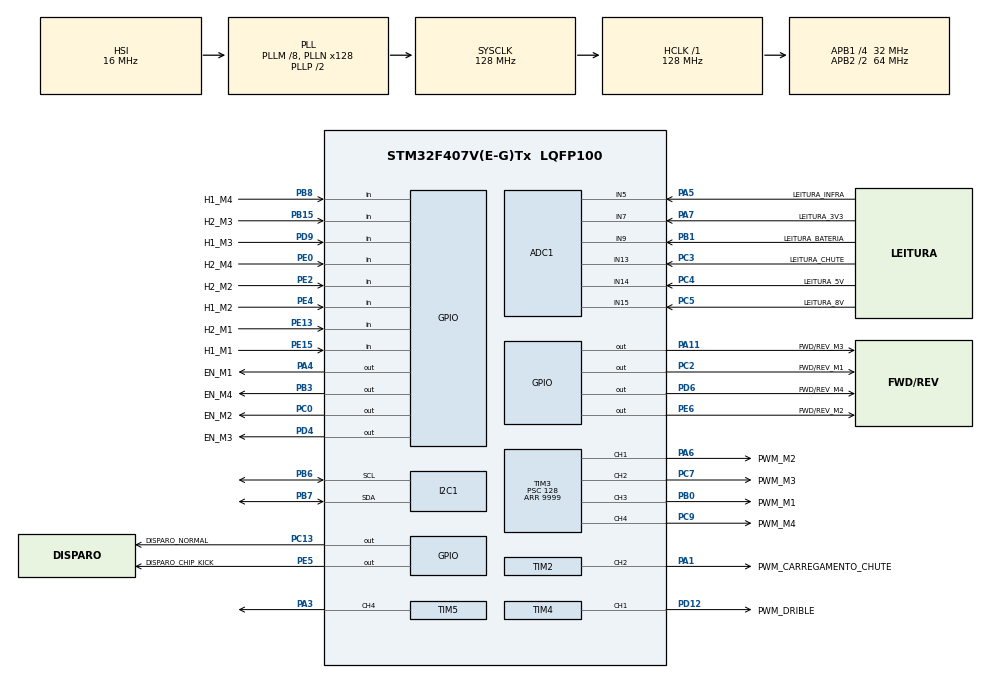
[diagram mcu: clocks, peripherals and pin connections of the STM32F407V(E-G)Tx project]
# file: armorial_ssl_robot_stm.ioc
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ADC1.Channel-3\#ChannelRegularConversion=ADC_CHANNEL_7
ADC1.Channel-4\#ChannelRegularConversion=ADC_CHANNEL_9
ADC1.Channel-5\#ChannelRegularConversion=ADC_CHANNEL_14
ADC1.Channel-6\#ChannelRegularConversion=ADC_CHANNEL_15
ADC1.Channel-7\#ChannelRegularConversion=ADC_CHANNEL_5
ADC1.Channel-8\#ChannelRegularConversion=ADC_CHANNEL_13
ADC1.DMAContinuousRequests=ENABLE
ADC1.NbrOfConversion=6
ADC1.NbrOfConversionFlag=1
ADC1.Rank-3\#ChannelRegularConversion=1
ADC1.Rank-4\#ChannelRegularConversion=2
ADC1.Rank-5\#ChannelRegularConversion=3
ADC1.Rank-6\#ChannelRegularConversion=4
ADC1.Rank-7\#ChannelRegularConversion=5
ADC1.Rank-8\#ChannelRegularConversion=6
ADC1.SamplingTime-3\#ChannelRegularConversion=ADC_SAMPLETIME_3CYCLES
ADC1.SamplingTime-4\#ChannelRegularConversion=ADC_SAMPLETIME_3CYCLES
ADC1.SamplingTime-5\#ChannelRegularConversion=ADC_SAMPLETIME_3CYCLES
ADC1.SamplingTime-6\#ChannelRegularConversion=ADC_SAMPLETIME_3CYCLES
ADC1.SamplingTime-7\#ChannelRegularConversion=ADC_SAMPLETIME_3CYCLES
ADC1.SamplingTime-8\#ChannelRegularConversion=ADC_SAMPLETIME_3CYCLES
ADC1.master=1
Dma.ADC1.0.Direction=DMA_PERIPH_TO_MEMORY
Dma.ADC1.0.FIFOMode=DMA_FIFOMODE_DISABLE
Dma.ADC1.0.Instance=DMA2_Stream0
Dma.ADC1.0.MemDataAlignment=DMA_MDATAALIGN_HALFWORD
Dma.ADC1.0.MemInc=DMA_MINC_ENABLE
Dma.ADC1.0.Mode=DMA_CIRCULAR
Dma.ADC1.0.PeriphDataAlignment=DMA_PDATAALIGN_HALFWORD
Dma.ADC1.0.PeriphInc=DMA_PINC_DISABLE
Dma.ADC1.0.Priority=DMA_PRIORITY_LOW
Dma.Request0=ADC1
I2C1.DualAddressMode=I2C_DUALADDRESS_DISABLE
I2C1.GeneralCallMode=I2C_GENERALCALL_DISABLE
I2C1.I2C_Mode=I2C_Fast
I2C1.NoStretchMode=I2C_NOSTRETCH_DISABLE
I2C1.OwnAddress=0x1F
Mcu.Family=STM32F4
Mcu.Name=STM32F407V(E-G)Tx
Mcu.Package=LQFP100
NVIC.DMA2_Stream0_IRQn=true\:0\:0\:false\:false\:true\:false\:true\:true
NVIC.I2C1_EV_IRQn=true\:0\:0\:false\:false\:true\:true\:true\:true
NVIC.PriorityGroup=NVIC_PRIORITYGROUP_4
PA1.GPIO_Label=PWM_CARREGAMENTO_CHUTE
PA1.Signal=S_TIM2_CH2
PA11.GPIO_Label=FWD/REV_M3
PA11.Signal=GPIO_Output
PA3.Signal=S_TIM5_CH4
PA4.GPIO_Label=EN_M1
PA4.Signal=GPIO_Output
PA5.GPIO_Label=LEITURA_INFRA
PA5.Signal=ADCx_IN5
PA6.GPIO_Label=PWM_M2
PA6.Signal=S_TIM3_CH1
PA7.GPIO_Label=LEITURA_3V3
PA7.Signal=ADCx_IN7
PB0.GPIO_Label=PWM_M1
PB0.Signal=S_TIM3_CH3
PB1.GPIO_Label=LEITURA_BATERIA
PB1.Signal=ADCx_IN9
PB15.GPIO_Label=H2_M3
PB15.GPIO_PuPd=GPIO_PULLUP
PB15.Signal=GPIO_Input
PB3.GPIO_Label=EN_M4
PB3.Signal=GPIO_Output
PB6.GPIO_Pu=GPIO_PULLUP
PB6.Mode=I2C
PB6.Signal=I2C1_SCL
PB7.GPIO_Pu=GPIO_PULLUP
PB7.Mode=I2C
PB7.Signal=I2C1_SDA
PB8.GPIO_Label=H1_M4
PB8.GPIO_PuPd=GPIO_PULLUP
PB8.Signal=GPIO_Input
PC0.GPIO_Label=EN_M2
PC0.Signal=GPIO_Output
PC13-ANTI_TAMP.GPIO_Label=DISPARO_NORMAL
PC13-ANTI_TAMP.Signal=GPIO_Output
PC2.GPIO_Label=FWD/REV_M1
PC2.Signal=GPIO_Output
PC3.GPIO_Label=LEITURA_CHUTE
PC3.Signal=ADCx_IN13
PC4.GPIO_Label=LEITURA_5V
PC4.Signal=ADCx_IN14
PC5.GPIO_Label=LEITURA_8V
PC5.Signal=ADCx_IN15
PC7.GPIO_Label=PWM_M3
PC7.Signal=S_TIM3_CH2
PC9.GPIO_Label=PWM_M4
PC9.Signal=S_TIM3_CH4
PD12.GPIO_Label=PWM_DRIBLE
PD12.Signal=S_TIM4_CH1
PD4.GPIO_Label=EN_M3
PD4.Signal=GPIO_Output
PD6.GPIO_Label=FWD/REV_M4
PD6.Signal=GPIO_Output
PD9.GPIO_Label=H1_M3
PD9.GPIO_PuPd=GPIO_PULLUP
PD9.Signal=GPIO_Input
PE0.GPIO_Label=H2_M4
PE0.GPIO_PuPd=GPIO_PULLUP
PE0.Signal=GPIO_Input
PE13.GPIO_Label=H2_M1
PE13.GPIO_PuPd=GPIO_PULLUP
PE13.Signal=GPIO_Input
PE15.GPIO_Label=H1_M1
PE15.GPIO_PuPd=GPIO_PULLUP
PE15.Signal=GPIO_Input
PE2.GPIO_Label=H2_M2
PE2.GPIO_PuPd=GPIO_PULLUP
PE2.Signal=GPIO_Input
PE4.GPIO_Label=H1_M2
PE4.GPIO_PuPd=GPIO_PULLUP
PE4.Signal=GPIO_Input
PE5.GPIO_Label=DISPARO_CHIP_KICK
PE5.Signal=GPIO_Output
PE6.GPIO_Label=FWD/REV_M2
PE6.Signal=GPIO_Output
PH0-OSC_IN.Mode=HSE-External-Oscillator
PH0-OSC_IN.Signal=RCC_OSC_IN
PH1-OSC_OUT.Mode=HSE-External-Oscillator
PH1-OSC_OUT.Signal=RCC_OSC_OUT
ProjectManager.HeapSize=0x200
ProjectManager.StackSize=0x400
ProjectManager.TargetToolchain=STM32CubeIDE
RCC.48MHZClocksFreq_Value=64000000
RCC.AHBFreq_Value=128000000
RCC.APB1CLKDivider=RCC_HCLK_DIV4
RCC.APB1Freq_Value=32000000
RCC.APB1TimFreq_Value=64000000
RCC.APB2CLKDivider=RCC_HCLK_DIV2
RCC.APB2Freq_Value=64000000
RCC.APB2TimFreq_Value=128000000
RCC.CortexFreq_Value=128000000
RCC.HCLKFreq_Value=128000000
RCC.HSE_VALUE=25000000
RCC.HSI_VALUE=16000000
RCC.LSE_VALUE=32768
RCC.PLLM=8
RCC.PLLN=128
RCC.SYSCLKFreq_VALUE=128000000
RCC.SYSCLKSource=RCC_SYSCLKSOURCE_PLLCLK
RCC.VCOOutputFreq_Value=256000000
SH.ADCx_IN13.0=ADC1_IN13,IN13
SH.ADCx_IN14.0=ADC1_IN14,IN14
SH.ADCx_IN15.0=ADC1_IN15,IN15
SH.ADCx_IN5.0=ADC1_IN5,IN5
SH.ADCx_IN7.0=ADC1_IN7,IN7
SH.ADCx_IN9.0=ADC1_IN9,IN9
SH.S_TIM2_CH2.0=TIM2_CH2,PWM Generation2 CH2
SH.S_TIM3_CH1.0=TIM3_CH1,PWM Generation1 CH1
SH.S_TIM3_CH2.0=TIM3_CH2,PWM Generation2 CH2
SH.S_TIM3_CH3.0=TIM3_CH3,PWM Generation3 CH3
SH.S_TIM3_CH4.0=TIM3_CH4,PWM Generation4 CH4
SH.S_TIM4_CH1.0=TIM4_CH1,PWM Generation1 CH1
SH.S_TIM5_CH4.0=TIM5_CH4,PWM Generation4 CH4
TIM2.Channel-PWM\ Generation2\ CH2=TIM_CHANNEL_2
TIM2.Period=1999
TIM2.Prescaler=128
TIM3.Channel-PWM\ Generation1\ CH1=TIM_CHANNEL_1
TIM3.Channel-PWM\ Generation2\ CH2=TIM_CHANNEL_2
TIM3.Channel-PWM\ Generation3\ CH3=TIM_CHANNEL_3
TIM3.Channel-PWM\ Generation4\ CH4=TIM_CHANNEL_4
TIM3.Period=9999
TIM3.Prescaler=128
TIM4.Channel-PWM\ Generation1\ CH1=TIM_CHANNEL_1
TIM4.Period=19999
TIM4.Prescaler=64
TIM5.Channel-PWM\ Generation4\ CH4=TIM_CHANNEL_4
TIM5.Period=99
TIM5.Prescaler=128
TIM9.Period=199
TIM9.Prescaler=64
VP_TIM2_VS_ClockSourceINT.Mode=Internal
VP_TIM3_VS_ClockSourceINT.Mode=Internal
VP_TIM4_VS_ClockSourceINT.Mode=Internal
VP_TIM5_VS_ClockSourceINT.Mode=Internal
VP_TIM9_VS_ClockSourceINT.Mode=Internal
board=custom

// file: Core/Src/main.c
/* USER CODE BEGIN Header */
/**
  ******************************************************************************
  * @file           : main.c
  * @brief          : Main program body
  ******************************************************************************
  * @attention
  *
  * Copyright (c) 2023 STMicroelectronics.
  * All rights reserved.
  *
  * This software is licensed under terms that can be found in the LICENSE file
  * in the root directory of this software component.
  * If no LICENSE file comes with this software, it is provided AS-IS.
  *
  ******************************************************************************
  */
/* USER CODE END Header */
#include "main.h"

/* USER CODE BEGIN Includes */
#include "crc.h"
#include "packets.h"
#include "drible.h"
#include "locomotions.h"
#include <string.h>
#include <stdlib.h>
#include <math.h>
/* USER CODE END Includes */

/* USER CODE BEGIN PTD */
__IO uint32_t     Transfer_Direction = 0;
__IO uint32_t     Xfer_Complete = 0;

/* USER CODE END PTD */

/* USER CODE BEGIN PD */
/* USER CODE BEGIN PD */
uint8_t getMasterInput = 0;
uint8_t getTransferDirection = 0;
uint8_t rxBuffer[1024];
uint8_t txBuffer[1024];
FeedbackPacket robotFeedback;
uint8_t robotId = 0;
uint32_t adc1[6];
GPIO_PinState IR_read;
/* USER CODE END PD */

/* USER CODE BEGIN PM */
#define MOTOR_1_PWM TIM3->CCR3
#define MOTOR_2_PWM TIM3->CCR1
#define MOTOR_3_PWM TIM3->CCR2
#define MOTOR_4_PWM TIM3->CCR4

#define PWM_CARREG_CHUTE TIM2->CCR2
#define CHARGE_TIME 4000

#define PWM_DRIBLE TIM4->CCR1

#define PWM_BUZZER TIM5->CCR4

#define LEITURA_3V3 0
#define LEITURA_BATERIA 1
#define LEITURA_5V 2
#define LEITURA_8V 3
#define LEITURA_INFRA 4
#define LEITURA_CHUTE 5

#define SSL_WHEELS_DISTANCE_TO_CENTER 0.07245f
#define SSL_WHEEL_RADIUS 0.03f

/* USER CODE END PM */

ADC_HandleTypeDef hadc1;
DMA_HandleTypeDef hdma_adc1;

I2C_HandleTypeDef hi2c1;

TIM_HandleTypeDef htim2;
TIM_HandleTypeDef htim3;
TIM_HandleTypeDef htim4;
TIM_HandleTypeDef htim5;
TIM_HandleTypeDef htim9;

void SystemClock_Config(void);
static void MX_GPIO_Init(void);
static void MX_DMA_Init(void);
static void MX_I2C1_Init(void);
static void MX_TIM3_Init(void);
static void MX_ADC1_Init(void);
static void MX_TIM2_Init(void);
static void MX_TIM4_Init(void);
static void MX_TIM9_Init(void);
static void MX_TIM5_Init(void);

/* USER CODE BEGIN 0 */

//--- Map ---
//long map(long x, long in_min, long in_max, long out_min, long out_max)
//{
//  return (x - in_min) * (out_max - out_min) / (in_max - in_min) + out_min;
//}

typedef enum {charged = 0, charging=1, kicking=2} kick_state;
kick_state kickState = kicking;
long long timer_kick = 0;
long long timer_readings = 0;
long long timer_led = 0;
long long timer_hall = 0;
float kickCmd = 0;
int high = 0; //used for blink
int loop_counter;

void turn_kick_charge_on() {PWM_CARREG_CHUTE = 140;}
void turn_kick_charge_off() {PWM_CARREG_CHUTE = 0;}
void turn_kick_on() {
	HAL_GPIO_WritePin(GPIOE, GPIO_PIN_5, 1);
	HAL_GPIO_WritePin(GPIOC, GPIO_PIN_13, 1);}
void turn_kick_off() {
	HAL_GPIO_WritePin(GPIOE, GPIO_PIN_5, 0);
	HAL_GPIO_WritePin(GPIOC, GPIO_PIN_13, 0);}

void verify_kick_charge() {
	if (kickState == charging) {
		if (HAL_GetTick() - timer_kick >= CHARGE_TIME) {
			kickState = charged;
			turn_kick_charge_off();
		}
	}
}
void verify_kick_activation() {
	if (kickState == kicking) {
		if (HAL_GetTick() - timer_kick >= 20) {
			turn_kick_off();
			turn_kick_charge_on();
			kickState = charging;
			timer_kick = HAL_GetTick();
		}
	}
}

void kick() {
	IR_read = HAL_GPIO_ReadPin(GPIOA, GPIO_PIN_5);
	if (kickState == charged && !IR_read) {
		turn_kick_on();
		kickState = kicking;
		timer_kick = HAL_GetTick();
	}
}

void try_read_ADC() {
	if (HAL_GetTick() - timer_readings >= 250) {
	  HAL_ADC_Start_DMA(&hadc1, (uint32_t*) &adc1[5], 1);
	  timer_readings = HAL_GetTick();
	}
}

//void blink() {
//	if (HAL_GetTick() - timer_led >= 1000) {
//	  HAL_GPIO_WritePin(GPIOA, LED2_Pin, high);
//	  high = (high + 1) % 2;
//	  timer_led = HAL_GetTick();
//	}
//}

/* USER CODE END 0 */

int main(void)
{

  /* MCU Configuration--------------------------------------------------------*/

  /* Reset of all peripherals, Initializes the Flash interface and the Systick. */
  HAL_Init();

  /* Configure the system clock */
  SystemClock_Config();

  /* Initialize all configured peripherals */
  MX_GPIO_Init();
  MX_DMA_Init();
  MX_I2C1_Init();
  MX_TIM3_Init();
  MX_ADC1_Init();
  MX_TIM2_Init();
  MX_TIM4_Init();
  MX_TIM9_Init();
  MX_TIM5_Init();
  /* USER CODE BEGIN 2 */

  // Starting timer 2 for channels 2 (kick charging)
  HAL_TIM_PWM_Start(&htim2, TIM_CHANNEL_2);

  // Starting timer 3 for channels 1-4 (motors)
  HAL_TIM_PWM_Start(&htim3, TIM_CHANNEL_1);
  HAL_TIM_PWM_Start(&htim3, TIM_CHANNEL_2);
  HAL_TIM_PWM_Start(&htim3, TIM_CHANNEL_3);
  HAL_TIM_PWM_Start(&htim3, TIM_CHANNEL_4);

  // Starting timer 4 channel 1 (dribble)
  HAL_TIM_PWM_Start(&htim4, TIM_CHANNEL_1);

  // Starting timer 5 channel 4 (buzzer)
  HAL_TIM_PWM_Start(&htim5, TIM_CHANNEL_4);

  // Calibrating ESC routine;
  //calibrateESC();

  if(HAL_I2C_EnableListen_IT(&hi2c1) != HAL_OK) {
	  /* Transfer error in reception process */
	  Error_Handler();
  }

  char control;
  float vx, vy, vw;

  // Starting ADC channel using DMA
//  HAL_ADC_Start_DMA(&hadc1, (uint32_t*) &adc1[5], 1);

  /* USER CODE END 2 */

  /* Infinite loop */
  /* USER CODE BEGIN WHILE */
  while (1) {
	  // Kick verification
	  verify_kick_charge();
	  verify_kick_activation();

	  //DEBUG
//	  IR_read = HAL_GPIO_ReadPin(GPIOA, GPIO_PIN_5);
//	  HAL_GPIO_WritePin(GPIOC, GPIO_PIN_4, IR_read);

	  //  ADC readings
//	  try_read_ADC();
//	  blink();
	  monitorateHall();

	  // Check I2C communication
	  if(getMasterInput) {
		  getMasterInput = 0;
		  if (getTransferDirection == 0) {
			  	float wheels[4];
			  	getWheels(wheels);
			    robotFeedback.control =control;
			  	robotFeedback.crc = 0;
			  	robotFeedback.vx = vx;
			  	robotFeedback.vy = vy;
			  	robotFeedback.vw = vw;
			  	robotFeedback.vw1_encoder = wheels[0];
				robotFeedback.vw2_encoder = wheels[1];
				robotFeedback.vw3_encoder = wheels[2];
				robotFeedback.vw4_encoder = wheels[3];
				robotFeedback.gyro_x = (float) (kickCmd);
			  	robotFeedback.timestamp = HAL_GetTick() * 1000; // microsecond
			  	robotFeedback.crc = compute_crc16cdma2000_byte(CRC_INITIAL_VALUE, (char*)&robotFeedback, sizeof(FeedbackPacket));
			  	memcpy(txBuffer, &robotFeedback, sizeof(FeedbackPacket));
				HAL_I2C_Slave_Seq_Transmit_IT(&hi2c1, (uint8_t*) txBuffer,
						sizeof(FeedbackPacket), I2C_NEXT_FRAME);
			} else {
				HAL_I2C_Slave_Seq_Receive_IT(&hi2c1, (uint8_t*) rxBuffer,
						sizeof(ControlPacket), I2C_NEXT_FRAME);

				ControlPacket controlPacket;
				memcpy(&controlPacket, rxBuffer, sizeof(ControlPacket));
				if(validatePacketCRC(controlPacket)) {

					// Enable dribbling based on control
					if(controlPacket.control & 0b01000000) {
						activateESC();
					}
					else {
						deactivateESC();
					}

					if(controlPacket.solenoidPower) {
						kick();
						kickCmd = 1000;
					} else if (!controlPacket.solenoidPower) {
						kickCmd = 0;
					}

					control = controlPacket.control;
					vx = controlPacket.vx;
					vy = controlPacket.vy;
					vw = controlPacket.vw;

					calcWheelsPWM(vx, vy, vw);
		  		}
			}
	  }
    /* USER CODE END WHILE */

  }
}

void SystemClock_Config(void)
{
  RCC_OscInitTypeDef RCC_OscInitStruct = {0};
  RCC_ClkInitTypeDef RCC_ClkInitStruct = {0};

  /** Configure the main internal regulator output voltage
  */
  __HAL_RCC_PWR_CLK_ENABLE();
  __HAL_PWR_VOLTAGESCALING_CONFIG(PWR_REGULATOR_VOLTAGE_SCALE1);

  /** Initializes the RCC Oscillators according to the specified parameters
  * in the RCC_OscInitTypeDef structure.
  */
  RCC_OscInitStruct.OscillatorType = RCC_OSCILLATORTYPE_HSI;
  RCC_OscInitStruct.HSIState = RCC_HSI_ON;
  RCC_OscInitStruct.HSICalibrationValue = RCC_HSICALIBRATION_DEFAULT;
  RCC_OscInitStruct.PLL.PLLState = RCC_PLL_ON;
  RCC_OscInitStruct.PLL.PLLSource = RCC_PLLSOURCE_HSI;
  RCC_OscInitStruct.PLL.PLLM = 8;
  RCC_OscInitStruct.PLL.PLLN = 128;
  RCC_OscInitStruct.PLL.PLLP = RCC_PLLP_DIV2;
  RCC_OscInitStruct.PLL.PLLQ = 4;
  if (HAL_RCC_OscConfig(&RCC_OscInitStruct) != HAL_OK)
  {
    Error_Handler();
  }

  /** Initializes the CPU, AHB and APB buses clocks
  */
  RCC_ClkInitStruct.ClockType = RCC_CLOCKTYPE_HCLK|RCC_CLOCKTYPE_SYSCLK
                              |RCC_CLOCKTYPE_PCLK1|RCC_CLOCKTYPE_PCLK2;
  RCC_ClkInitStruct.SYSCLKSource = RCC_SYSCLKSOURCE_PLLCLK;
  RCC_ClkInitStruct.AHBCLKDivider = RCC_SYSCLK_DIV1;
  RCC_ClkInitStruct.APB1CLKDivider = RCC_HCLK_DIV4;
  RCC_ClkInitStruct.APB2CLKDivider = RCC_HCLK_DIV2;

  if (HAL_RCC_ClockConfig(&RCC_ClkInitStruct, FLASH_LATENCY_4) != HAL_OK)
  {
    Error_Handler();
  }
}

static void MX_ADC1_Init(void)
{

  ADC_ChannelConfTypeDef sConfig = {0};

  /** Configure the global features of the ADC (Clock, Resolution, Data Alignment and number of conversion)
  */
  hadc1.Instance = ADC1;
  hadc1.Init.ClockPrescaler = ADC_CLOCK_SYNC_PCLK_DIV2;
  hadc1.Init.Resolution = ADC_RESOLUTION_12B;
  hadc1.Init.ScanConvMode = ENABLE;
  hadc1.Init.ContinuousConvMode = DISABLE;
  hadc1.Init.DiscontinuousConvMode = DISABLE;
  hadc1.Init.ExternalTrigConvEdge = ADC_EXTERNALTRIGCONVEDGE_NONE;
  hadc1.Init.ExternalTrigConv = ADC_SOFTWARE_START;
  hadc1.Init.DataAlign = ADC_DATAALIGN_RIGHT;
  hadc1.Init.NbrOfConversion = 6;
  hadc1.Init.DMAContinuousRequests = ENABLE;
  hadc1.Init.EOCSelection = ADC_EOC_SINGLE_CONV;
  if (HAL_ADC_Init(&hadc1) != HAL_OK)
  {
    Error_Handler();
  }

  /** Configure for the selected ADC regular channel its corresponding rank in the sequencer and its sample time.
  */
  sConfig.Channel = ADC_CHANNEL_7;
  sConfig.Rank = 1;
  sConfig.SamplingTime = ADC_SAMPLETIME_3CYCLES;
  if (HAL_ADC_ConfigChannel(&hadc1, &sConfig) != HAL_OK)
  {
    Error_Handler();
  }

  /** Configure for the selected ADC regular channel its corresponding rank in the sequencer and its sample time.
  */
  sConfig.Channel = ADC_CHANNEL_9;
  sConfig.Rank = 2;
  if (HAL_ADC_ConfigChannel(&hadc1, &sConfig) != HAL_OK)
  {
    Error_Handler();
  }

  /** Configure for the selected ADC regular channel its corresponding rank in the sequencer and its sample time.
  */
  sConfig.Channel = ADC_CHANNEL_14;
  sConfig.Rank = 3;
  if (HAL_ADC_ConfigChannel(&hadc1, &sConfig) != HAL_OK)
  {
    Error_Handler();
  }

  /** Configure for the selected ADC regular channel its corresponding rank in the sequencer and its sample time.
  */
  sConfig.Channel = ADC_CHANNEL_15;
  sConfig.Rank = 4;
  if (HAL_ADC_ConfigChannel(&hadc1, &sConfig) != HAL_OK)
  {
    Error_Handler();
  }

  /** Configure for the selected ADC regular channel its corresponding rank in the sequencer and its sample time.
  */
  sConfig.Channel = ADC_CHANNEL_5;
  sConfig.Rank = 5;
  if (HAL_ADC_ConfigChannel(&hadc1, &sConfig) != HAL_OK)
  {
    Error_Handler();
  }

  /** Configure for the selected ADC regular channel its corresponding rank in the sequencer and its sample time.
  */
  sConfig.Channel = ADC_CHANNEL_13;
  sConfig.Rank = 6;
  if (HAL_ADC_ConfigChannel(&hadc1, &sConfig) != HAL_OK)
  {
    Error_Handler();
  }

}

static void MX_I2C1_Init(void)
{

  hi2c1.Instance = I2C1;
  hi2c1.Init.ClockSpeed = 400000;
  hi2c1.Init.DutyCycle = I2C_DUTYCYCLE_2;
  hi2c1.Init.OwnAddress1 = 62;
  hi2c1.Init.AddressingMode = I2C_ADDRESSINGMODE_7BIT;
  hi2c1.Init.DualAddressMode = I2C_DUALADDRESS_DISABLE;
  hi2c1.Init.OwnAddress2 = 0;
  hi2c1.Init.GeneralCallMode = I2C_GENERALCALL_DISABLE;
  hi2c1.Init.NoStretchMode = I2C_NOSTRETCH_DISABLE;
  if (HAL_I2C_Init(&hi2c1) != HAL_OK)
  {
    Error_Handler();
  }

}

static void MX_TIM2_Init(void)
{

  TIM_ClockConfigTypeDef sClockSourceConfig = {0};
  TIM_MasterConfigTypeDef sMasterConfig = {0};
  TIM_OC_InitTypeDef sConfigOC = {0};

  htim2.Instance = TIM2;
  htim2.Init.Prescaler = 128;
  htim2.Init.CounterMode = TIM_COUNTERMODE_UP;
  htim2.Init.Period = 1999;
  htim2.Init.ClockDivision = TIM_CLOCKDIVISION_DIV1;
  htim2.Init.AutoReloadPreload = TIM_AUTORELOAD_PRELOAD_DISABLE;
  if (HAL_TIM_Base_Init(&htim2) != HAL_OK)
  {
    Error_Handler();
  }
  sClockSourceConfig.ClockSource = TIM_CLOCKSOURCE_INTERNAL;
  if (HAL_TIM_ConfigClockSource(&htim2, &sClockSourceConfig) != HAL_OK)
  {
    Error_Handler();
  }
  if (HAL_TIM_PWM_Init(&htim2) != HAL_OK)
  {
    Error_Handler();
  }
  sMasterConfig.MasterOutputTrigger = TIM_TRGO_RESET;
  sMasterConfig.MasterSlaveMode = TIM_MASTERSLAVEMODE_DISABLE;
  if (HAL_TIMEx_MasterConfigSynchronization(&htim2, &sMasterConfig) != HAL_OK)
  {
    Error_Handler();
  }
  sConfigOC.OCMode = TIM_OCMODE_PWM1;
  sConfigOC.Pulse = 0;
  sConfigOC.OCPolarity = TIM_OCPOLARITY_HIGH;
  sConfigOC.OCFastMode = TIM_OCFAST_DISABLE;
  if (HAL_TIM_PWM_ConfigChannel(&htim2, &sConfigOC, TIM_CHANNEL_2) != HAL_OK)
  {
    Error_Handler();
  }
  HAL_TIM_MspPostInit(&htim2);

}

static void MX_TIM3_Init(void)
{

  TIM_ClockConfigTypeDef sClockSourceConfig = {0};
  TIM_MasterConfigTypeDef sMasterConfig = {0};
  TIM_OC_InitTypeDef sConfigOC = {0};

  htim3.Instance = TIM3;
  htim3.Init.Prescaler = 128;
  htim3.Init.CounterMode = TIM_COUNTERMODE_UP;
  htim3.Init.Period = 9999;
  htim3.Init.ClockDivision = TIM_CLOCKDIVISION_DIV1;
  htim3.Init.AutoReloadPreload = TIM_AUTORELOAD_PRELOAD_DISABLE;
  if (HAL_TIM_Base_Init(&htim3) != HAL_OK)
  {
    Error_Handler();
  }
  sClockSourceConfig.ClockSource = TIM_CLOCKSOURCE_INTERNAL;
  if (HAL_TIM_ConfigClockSource(&htim3, &sClockSourceConfig) != HAL_OK)
  {
    Error_Handler();
  }
  if (HAL_TIM_PWM_Init(&htim3) != HAL_OK)
  {
    Error_Handler();
  }
  sMasterConfig.MasterOutputTrigger = TIM_TRGO_RESET;
  sMasterConfig.MasterSlaveMode = TIM_MASTERSLAVEMODE_DISABLE;
  if (HAL_TIMEx_MasterConfigSynchronization(&htim3, &sMasterConfig) != HAL_OK)
  {
    Error_Handler();
  }
  sConfigOC.OCMode = TIM_OCMODE_PWM1;
  sConfigOC.Pulse = 0;
  sConfigOC.OCPolarity = TIM_OCPOLARITY_HIGH;
  sConfigOC.OCFastMode = TIM_OCFAST_DISABLE;
  if (HAL_TIM_PWM_ConfigChannel(&htim3, &sConfigOC, TIM_CHANNEL_1) != HAL_OK)
  {
    Error_Handler();
  }
  if (HAL_TIM_PWM_ConfigChannel(&htim3, &sConfigOC, TIM_CHANNEL_2) != HAL_OK)
  {
    Error_Handler();
  }
  if (HAL_TIM_PWM_ConfigChannel(&htim3, &sConfigOC, TIM_CHANNEL_3) != HAL_OK)
  {
    Error_Handler();
  }
  if (HAL_TIM_PWM_ConfigChannel(&htim3, &sConfigOC, TIM_CHANNEL_4) != HAL_OK)
  {
    Error_Handler();
  }
  HAL_TIM_MspPostInit(&htim3);

}

static void MX_TIM4_Init(void)
{

  TIM_ClockConfigTypeDef sClockSourceConfig = {0};
  TIM_MasterConfigTypeDef sMasterConfig = {0};
  TIM_OC_InitTypeDef sConfigOC = {0};

  htim4.Instance = TIM4;
  htim4.Init.Prescaler = 64;
  htim4.Init.CounterMode = TIM_COUNTERMODE_UP;
  htim4.Init.Period = 19999;
  htim4.Init.ClockDivision = TIM_CLOCKDIVISION_DIV1;
  htim4.Init.AutoReloadPreload = TIM_AUTORELOAD_PRELOAD_DISABLE;
  if (HAL_TIM_Base_Init(&htim4) != HAL_OK)
  {
    Error_Handler();
  }
  sClockSourceConfig.ClockSource = TIM_CLOCKSOURCE_INTERNAL;
  if (HAL_TIM_ConfigClockSource(&htim4, &sClockSourceConfig) != HAL_OK)
  {
    Error_Handler();
  }
  if (HAL_TIM_PWM_Init(&htim4) != HAL_OK)
  {
    Error_Handler();
  }
  sMasterConfig.MasterOutputTrigger = TIM_TRGO_RESET;
  sMasterConfig.MasterSlaveMode = TIM_MASTERSLAVEMODE_DISABLE;
  if (HAL_TIMEx_MasterConfigSynchronization(&htim4, &sMasterConfig) != HAL_OK)
  {
    Error_Handler();
  }
  sConfigOC.OCMode = TIM_OCMODE_PWM1;
  sConfigOC.Pulse = 0;
  sConfigOC.OCPolarity = TIM_OCPOLARITY_HIGH;
  sConfigOC.OCFastMode = TIM_OCFAST_DISABLE;
  if (HAL_TIM_PWM_ConfigChannel(&htim4, &sConfigOC, TIM_CHANNEL_1) != HAL_OK)
  {
    Error_Handler();
  }
  HAL_TIM_MspPostInit(&htim4);

}

static void MX_TIM5_Init(void)
{

  TIM_ClockConfigTypeDef sClockSourceConfig = {0};
  TIM_MasterConfigTypeDef sMasterConfig = {0};
  TIM_OC_InitTypeDef sConfigOC = {0};

  htim5.Instance = TIM5;
  htim5.Init.Prescaler = 128;
  htim5.Init.CounterMode = TIM_COUNTERMODE_UP;
  htim5.Init.Period = 99;
  htim5.Init.ClockDivision = TIM_CLOCKDIVISION_DIV1;
  htim5.Init.AutoReloadPreload = TIM_AUTORELOAD_PRELOAD_DISABLE;
  if (HAL_TIM_Base_Init(&htim5) != HAL_OK)
  {
    Error_Handler();
  }
  sClockSourceConfig.ClockSource = TIM_CLOCKSOURCE_INTERNAL;
  if (HAL_TIM_ConfigClockSource(&htim5, &sClockSourceConfig) != HAL_OK)
  {
    Error_Handler();
  }
  if (HAL_TIM_PWM_Init(&htim5) != HAL_OK)
  {
    Error_Handler();
  }
  sMasterConfig.MasterOutputTrigger = TIM_TRGO_RESET;
  sMasterConfig.MasterSlaveMode = TIM_MASTERSLAVEMODE_DISABLE;
  if (HAL_TIMEx_MasterConfigSynchronization(&htim5, &sMasterConfig) != HAL_OK)
  {
    Error_Handler();
  }
  sConfigOC.OCMode = TIM_OCMODE_PWM1;
  sConfigOC.Pulse = 0;
  sConfigOC.OCPolarity = TIM_OCPOLARITY_HIGH;
  sConfigOC.OCFastMode = TIM_OCFAST_DISABLE;
  if (HAL_TIM_PWM_ConfigChannel(&htim5, &sConfigOC, TIM_CHANNEL_4) != HAL_OK)
  {
    Error_Handler();
  }
  HAL_TIM_MspPostInit(&htim5);

}

static void MX_TIM9_Init(void)
{

  TIM_ClockConfigTypeDef sClockSourceConfig = {0};

  htim9.Instance = TIM9;
  htim9.Init.Prescaler = 64;
  htim9.Init.CounterMode = TIM_COUNTERMODE_UP;
  htim9.Init.Period = 199;
  htim9.Init.ClockDivision = TIM_CLOCKDIVISION_DIV1;
  htim9.Init.AutoReloadPreload = TIM_AUTORELOAD_PRELOAD_DISABLE;
  if (HAL_TIM_Base_Init(&htim9) != HAL_OK)
  {
    Error_Handler();
  }
  sClockSourceConfig.ClockSource = TIM_CLOCKSOURCE_INTERNAL;
  if (HAL_TIM_ConfigClockSource(&htim9, &sClockSourceConfig) != HAL_OK)
  {
    Error_Handler();
  }

}

static void MX_DMA_Init(void)
{

  /* DMA controller clock enable */
  __HAL_RCC_DMA2_CLK_ENABLE();

  /* DMA interrupt init */
  /* DMA2_Stream0_IRQn interrupt configuration */
  HAL_NVIC_SetPriority(DMA2_Stream0_IRQn, 0, 0);
  HAL_NVIC_EnableIRQ(DMA2_Stream0_IRQn);

}

static void MX_GPIO_Init(void)
{
  GPIO_InitTypeDef GPIO_InitStruct = {0};

  /* GPIO Ports Clock Enable */
  __HAL_RCC_GPIOE_CLK_ENABLE();
  __HAL_RCC_GPIOC_CLK_ENABLE();
  __HAL_RCC_GPIOH_CLK_ENABLE();
  __HAL_RCC_GPIOA_CLK_ENABLE();
  __HAL_RCC_GPIOB_CLK_ENABLE();
  __HAL_RCC_GPIOD_CLK_ENABLE();

  /*Configure GPIO pin Output Level */
  HAL_GPIO_WritePin(GPIOE, DISPARO_CHIP_KICK_Pin|FWD_REV_M2_Pin, GPIO_PIN_RESET);

  /*Configure GPIO pin Output Level */
  HAL_GPIO_WritePin(GPIOC, DISPARO_NORMAL_Pin|EN_M2_Pin|FWD_REV_M1_Pin, GPIO_PIN_RESET);

  /*Configure GPIO pin Output Level */
  HAL_GPIO_WritePin(GPIOA, EN_M1_Pin|FWD_REV_M3_Pin, GPIO_PIN_RESET);

  /*Configure GPIO pin Output Level */
  HAL_GPIO_WritePin(GPIOD, EN_M3_Pin|FWD_REV_M4_Pin, GPIO_PIN_RESET);

  /*Configure GPIO pin Output Level */
  HAL_GPIO_WritePin(EN_M4_GPIO_Port, EN_M4_Pin, GPIO_PIN_RESET);

  /*Configure GPIO pins : H2_M2_Pin H1_M2_Pin H2_M1_Pin H1_M1_Pin
                           H2_M4_Pin */
  GPIO_InitStruct.Pin = H2_M2_Pin|H1_M2_Pin|H2_M1_Pin|H1_M1_Pin
                          |H2_M4_Pin;
  GPIO_InitStruct.Mode = GPIO_MODE_INPUT;
  GPIO_InitStruct.Pull = GPIO_PULLUP;
  HAL_GPIO_Init(GPIOE, &GPIO_InitStruct);

  /*Configure GPIO pins : DISPARO_CHIP_KICK_Pin FWD_REV_M2_Pin */
  GPIO_InitStruct.Pin = DISPARO_CHIP_KICK_Pin|FWD_REV_M2_Pin;
  GPIO_InitStruct.Mode = GPIO_MODE_OUTPUT_PP;
  GPIO_InitStruct.Pull = GPIO_NOPULL;
  GPIO_InitStruct.Speed = GPIO_SPEED_FREQ_LOW;
  HAL_GPIO_Init(GPIOE, &GPIO_InitStruct);

  /*Configure GPIO pins : DISPARO_NORMAL_Pin EN_M2_Pin FWD_REV_M1_Pin */
  GPIO_InitStruct.Pin = DISPARO_NORMAL_Pin|EN_M2_Pin|FWD_REV_M1_Pin;
  GPIO_InitStruct.Mode = GPIO_MODE_OUTPUT_PP;
  GPIO_InitStruct.Pull = GPIO_NOPULL;
  GPIO_InitStruct.Speed = GPIO_SPEED_FREQ_LOW;
  HAL_GPIO_Init(GPIOC, &GPIO_InitStruct);

  /*Configure GPIO pins : EN_M1_Pin FWD_REV_M3_Pin */
  GPIO_InitStruct.Pin = EN_M1_Pin|FWD_REV_M3_Pin;
  GPIO_InitStruct.Mode = GPIO_MODE_OUTPUT_PP;
  GPIO_InitStruct.Pull = GPIO_NOPULL;
  GPIO_InitStruct.Speed = GPIO_SPEED_FREQ_LOW;
  HAL_GPIO_Init(GPIOA, &GPIO_InitStruct);

  /*Configure GPIO pins : H2_M3_Pin H1_M4_Pin */
  GPIO_InitStruct.Pin = H2_M3_Pin|H1_M4_Pin;
  GPIO_InitStruct.Mode = GPIO_MODE_INPUT;
  GPIO_InitStruct.Pull = GPIO_PULLUP;
  HAL_GPIO_Init(GPIOB, &GPIO_InitStruct);

  /*Configure GPIO pin : H1_M3_Pin */
  GPIO_InitStruct.Pin = H1_M3_Pin;
  GPIO_InitStruct.Mode = GPIO_MODE_INPUT;
  GPIO_InitStruct.Pull = GPIO_PULLUP;
  HAL_GPIO_Init(H1_M3_GPIO_Port, &GPIO_InitStruct);

  /*Configure GPIO pins : EN_M3_Pin FWD_REV_M4_Pin */
  GPIO_InitStruct.Pin = EN_M3_Pin|FWD_REV_M4_Pin;
  GPIO_InitStruct.Mode = GPIO_MODE_OUTPUT_PP;
  GPIO_InitStruct.Pull = GPIO_NOPULL;
  GPIO_InitStruct.Speed = GPIO_SPEED_FREQ_LOW;
  HAL_GPIO_Init(GPIOD, &GPIO_InitStruct);

  /*Configure GPIO pin : EN_M4_Pin */
  GPIO_InitStruct.Pin = EN_M4_Pin;
  GPIO_InitStruct.Mode = GPIO_MODE_OUTPUT_PP;
  GPIO_InitStruct.Pull = GPIO_NOPULL;
  GPIO_InitStruct.Speed = GPIO_SPEED_FREQ_LOW;
  HAL_GPIO_Init(EN_M4_GPIO_Port, &GPIO_InitStruct);

}

/* USER CODE BEGIN 4 */

void HAL_I2C_SlaveTxCpltCallback(I2C_HandleTypeDef *hi2c)
{
}

void HAL_I2C_SlaveRxCpltCallback(I2C_HandleTypeDef *hi2c)
{
}

void HAL_I2C_ListenCpltCallback(I2C_HandleTypeDef *hi2c)
{
	if(HAL_I2C_EnableListen_IT(&hi2c1) != HAL_OK)
	{
		Error_Handler();
	}
}

void HAL_I2C_AddrCallback(I2C_HandleTypeDef *hi2c, uint8_t TransferDirection,
		uint16_t AddrMatchCode) {
	getTransferDirection = TransferDirection;
	getMasterInput = 1;
}

/**
  * @brief  I2C error callbacks.
  * @param  I2cHandle: I2C handle
  * @note   This example shows a simple way to report transfer error, and you can
  *         add your own implementation.
  * @retval None
  */
void HAL_I2C_ErrorCallback(I2C_HandleTypeDef *I2cHandle)
{
  /** Error_Handler() function is called when error occurs.
    * 1- When Slave doesn't acknowledge its address, Master restarts communication.
    * 2- When Master doesn't acknowledge the last data transferred, Slave doesn't care in this example.
    */
  if (HAL_I2C_GetError(I2cHandle) != HAL_I2C_ERROR_AF)
  {
    Error_Handler();
  }
}

/* USER CODE END 4 */

void Error_Handler(void)
{
  __disable_irq();
  while (1)
  {
  }
}
